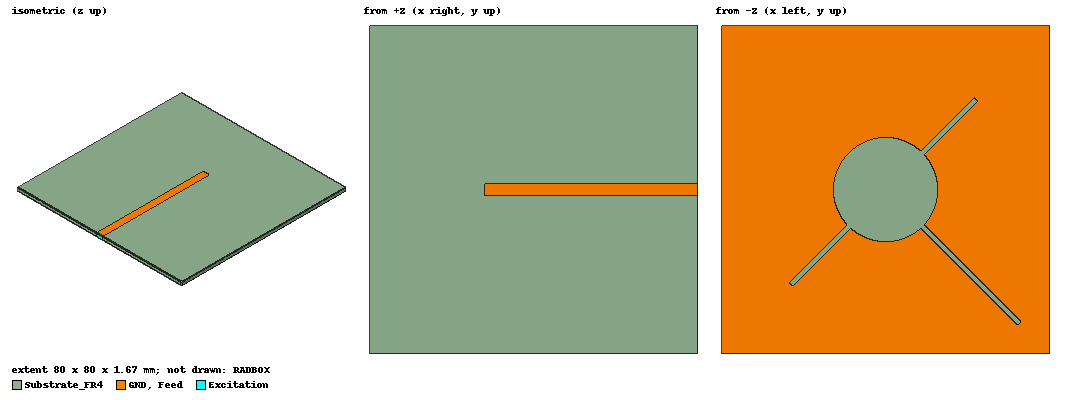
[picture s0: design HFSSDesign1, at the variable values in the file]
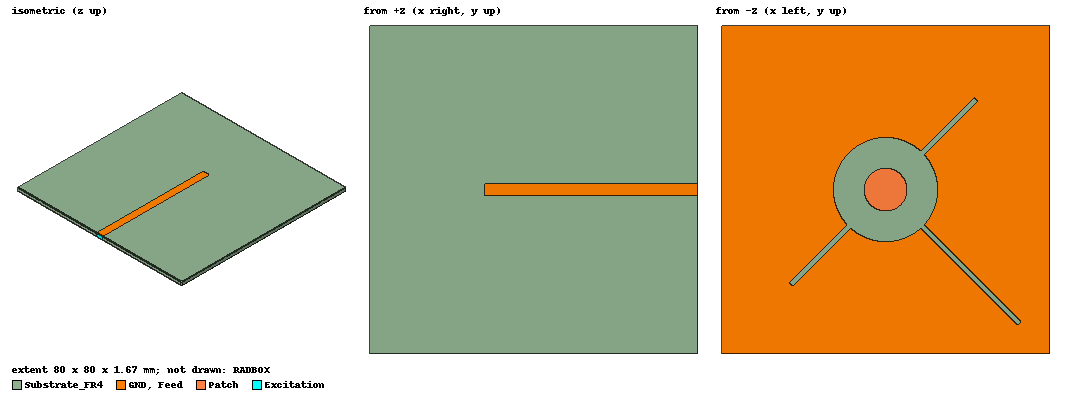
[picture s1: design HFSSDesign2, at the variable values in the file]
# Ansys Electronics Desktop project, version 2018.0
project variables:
  $xsub = 80mm
  $ysub = 80mm
  $R1 = 5.2mm  # optimise 2.5mm..7.5mm
  $R2 = 12.7mm  # optimise 5.5mm..16.5mm
  $L1 = 33.5mm  # optimise 17.5mm..52.5mm
  $L3 = 18.5mm  # optimise 9.75mm..29.25mm
  $L4 = 20mm  # optimise 11.25mm..33.75mm
  $Ws = 1.1mm
  $W = 3.1mm
  $L = 52mm  # optimise 25.75mm..77.25mm
  $H_sub = 1.6mm
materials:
  vacuum: permittivity=1
  FR4_epoxy: permittivity=4.4 dielectric_loss_tangent=0.02
  copper: permeability=0.999991 conductivity=58000000

design HFSSDesign1 (HFSS, DrivenModal, model units mm)
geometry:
  Substrate_FR4 [FR4_epoxy] = box(corner=(-$xsub/2, -$ysub/2, 0mm), size=($xsub, $ysub, $H_sub))
  GND [copper] = rectangle(corner=(-$xsub/2, -$ysub/2, -0.035mm), x_size=$xsub, y_size=$ysub)
  GND.thicken(0.035mm)
  Feed [copper] = rectangle(corner=($xsub/2, $W/2, $H_sub), x_size=-$L, y_size=-$W)
  Feed.thicken(0.035mm)
  R2 = circle(normal=Z, centre=(0mm, 0mm, -0.035mm), radius=$R2)
  R2.thicken(0.035mm)
  GND.subtract(R2)
  Rectangle1 = rectangle(corner=(0mm, -$Ws/2, 0), x_size=-$L1-$R2, y_size=$Ws)
  Rectangle1.thicken(0.035mm)
  Rectangle1.rotate(axis=Z, angle=45deg)
  GND.subtract(Rectangle1)
  Rectangle2 = rectangle(corner=(0mm, -$Ws/2, 0mm), x_size=-($R2+$L3), y_size=$Ws)
  Rectangle2.thicken(0.035mm)
  Rectangle2.rotate(axis=Z, angle=-45deg)
  GND.subtract(Rectangle2)
  Rectangle3 = rectangle(corner=(0mm, -$Ws/2, 0mm), x_size=-($R2+$L4), y_size=$Ws)
  Rectangle3.thicken(0.035mm)
  Rectangle3.rotate(axis=Z, angle=135deg)
  GND.subtract(Rectangle3)
  Excitation = rectangle(corner=($xsub/2, -$W/2, -0.035mm), y_size=3mm, z_size=2*0.035mm+$H_sub)
  RADBOX [vacuum] = box(corner=(-2*$xsub, -2*$ysub, -2*$ysub), size=(4*$xsub, 4*$ysub, 4*$ysub))
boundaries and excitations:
  Rad1: Radiation Objects=RADBOX
  1: Lumped Port Objects=Excitation Modes{Mode1{IntLine{Excitation.face -> Excitation.face} CharImp=Zpi RenormImp=50ohm}} Impedance=50ohm
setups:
  Setup1: HfssDriven Frequency=1.575GHz MaxDeltaS=0.02 MaximumPasses=6 MinimumPasses=1 MinimumConvergedPasses=1 PercentRefinement=30 BasisOrder=1 PortAccuracy=2
    sweep Sweep: 1.2GHz to 2GHz, 200 points; Type=Discrete SaveFields
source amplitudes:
  1:1: 1W 0deg
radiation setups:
  Infinite Sphere1: Infinite Sphere Theta=0deg..360deg step 2deg Phi=-180deg..180deg step 2deg
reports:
  S Parameter Plot 1: dB(S(1,1)) vs Freq on Setup1 : Sweep
  Axial Ratio Plot 1: dB(AxialRatioValue) vs Freq on Setup1 : LastAdaptive, Infinite Sphere1 [Phi=0deg Theta=0deg]
  Gain Plot 1: dB(GainLHCP) vs Theta on Setup1 : LastAdaptive, Infinite Sphere1 [Phi=all Freq=1.575GHz]
  Axial Ratio Plot 2: dB(AxialRatioValue) vs Theta on Setup1 : LastAdaptive, Infinite Sphere1 [Phi=all Freq=1.575GHz]; markers MY1 at y=2.96017
  Axial Ratio Plot 3: dB(AxialRatioValue) vs Freq on Setup1 : Sweep, Infinite Sphere1 [Phi=0deg Theta=0deg]
  S Parameter Plot 2: dB(S(1,1)) vs Freq on Setup1 : Sweep

design HFSSDesign2 (HFSS, DrivenModal, model units mm)
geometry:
  Substrate_FR4 [FR4_epoxy] = box(corner=(-$xsub/2, -$ysub/2, 0mm), size=($xsub, $ysub, $H_sub))
  GND [copper] = rectangle(corner=(-$xsub/2, -$ysub/2, -0.035mm), x_size=$xsub, y_size=$ysub)
  GND.thicken(0.035mm)
  Feed [copper] = rectangle(corner=($xsub/2, $W/2, $H_sub), x_size=-$L, y_size=-$W)
  Feed.thicken(0.035mm)
  R2 = circle(normal=Z, centre=(0mm, 0mm, -0.035mm), radius=$R2)
  R2.thicken(0.035mm)
  GND.subtract(R2)
  Rectangle1 = rectangle(corner=(0mm, -$Ws/2, 0), x_size=-$L1-$R2, y_size=$Ws)
  Rectangle1.thicken(0.035mm)
  Rectangle1.rotate(axis=Z, angle=45deg)
  GND.subtract(Rectangle1)
  Rectangle2 = rectangle(corner=(0mm, -$Ws/2, 0mm), x_size=-($R2+$L3), y_size=$Ws)
  Rectangle2.thicken(0.035mm)
  Rectangle2.rotate(axis=Z, angle=-45deg)
  GND.subtract(Rectangle2)
  Rectangle3 = rectangle(corner=(0mm, -$Ws/2, 0mm), x_size=-($R2+$L4), y_size=$Ws)
  Rectangle3.thicken(0.035mm)
  Rectangle3.rotate(axis=Z, angle=135deg)
  GND.subtract(Rectangle3)
  Excitation = rectangle(corner=($xsub/2, -$W/2, -0.035mm), y_size=3mm, z_size=2*0.035mm+$H_sub)
  RADBOX [vacuum] = box(corner=(-2*$xsub, -2*$ysub, -2*$ysub), size=(4*$xsub, 4*$ysub, 4*$ysub))
  Patch [copper] = circle(normal=Z, centre=(0mm, 0mm, -0.035mm), radius=$R1)
  Patch.thicken(0.035mm)
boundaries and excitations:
  Rad1: Radiation Objects=RADBOX
  1: Lumped Port Objects=Excitation Modes{Mode1{IntLine{Excitation.face -> Excitation.face} CharImp=Zpi RenormImp=50ohm}} Impedance=50ohm
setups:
  Setup1: HfssDriven Frequency=1.575GHz MaxDeltaS=0.01 MaximumPasses=18 MinimumPasses=1 MinimumConvergedPasses=1 PercentRefinement=30 BasisOrder=1 PortAccuracy=2
    sweep Sweep: 1.4GHz to 1.7GHz, 216 points; Type=Discrete SaveFields
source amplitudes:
  1:1: 1W 0deg
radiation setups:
  Infinite Sphere1: Infinite Sphere Theta=0deg..360deg step 2deg Phi=-180deg..180deg step 2deg
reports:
  Axial Ratio Plot 1: dB(AxialRatioValue) vs Freq on Setup1 : Sweep, Infinite Sphere1 [Phi=0deg Theta=180deg $R1=all $R2=all $L1=all $L3=all $L4=all $Ws=all $W=all $L=all]; markers MY1 at y=2.88568
  S Parameter Plot 1: dB(S(1,1)) vs Freq on Setup1 : Sweep
  Gain Plot 1: dB(GainLHCP), dB(GainRHCP) vs Theta on Setup1 : LastAdaptive, Infinite Sphere1 [Phi=0deg Freq=1.575GHz $R1=5.2mm $R2=12.7mm $L1=33.5mm $L3=all $L4=all $Ws=1.1mm $W=3.1mm $L=all]; markers m1 at 360deg, m2 at 180deg
  Gain Plot 2: dB(GainRHCP) vs Phi, Theta on Setup1 : LastAdaptive, Infinite Sphere1 [Freq=1.575GHz $R1=5.2mm $R2=12.7mm $L1=33.5mm $L3=17.5mm $L4=19mm $Ws=1.1mm $W=3.1mm $L=51.3967mm]
  Gain Plot 3: dB(GainRHCP) vs Phi, Theta on Setup1 : LastAdaptive, Infinite Sphere1 [Freq=1.575GHz $R1=5.2mm $R2=12.7mm $L1=33.5mm $L3=18.5mm $L4=20mm $Ws=1.1mm $W=3.1mm $L=52mm]
